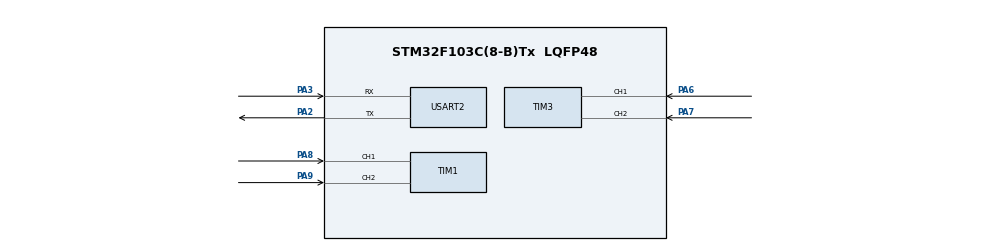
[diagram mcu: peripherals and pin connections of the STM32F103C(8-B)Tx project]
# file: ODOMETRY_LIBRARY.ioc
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Mcu.Family=STM32F1
Mcu.Name=STM32F103C(8-B)Tx
Mcu.Package=LQFP48
NVIC.PriorityGroup=NVIC_PRIORITYGROUP_4
PA13.Mode=Serial_Wire
PA13.Signal=SYS_JTMS-SWDIO
PA14.Mode=Serial_Wire
PA14.Signal=SYS_JTCK-SWCLK
PA2.Mode=Asynchronous
PA2.Signal=USART2_TX
PA3.Mode=Asynchronous
PA3.Signal=USART2_RX
PA6.Signal=S_TIM3_CH1
PA7.Signal=S_TIM3_CH2
PA8.Signal=S_TIM1_CH1
PA9.Signal=S_TIM1_CH2
PD0-OSC_IN.Mode=HSE-External-Oscillator
PD0-OSC_IN.Signal=RCC_OSC_IN
PD1-OSC_OUT.Mode=HSE-External-Oscillator
PD1-OSC_OUT.Signal=RCC_OSC_OUT
ProjectManager.HeapSize=0x200
ProjectManager.StackSize=0x400
ProjectManager.TargetToolchain=STM32CubeIDE
RCC.APB1Freq_Value=8000000
RCC.APB2Freq_Value=8000000
SH.S_TIM1_CH1.0=TIM1_CH1,Encoder_Interface
SH.S_TIM1_CH2.0=TIM1_CH2,Encoder_Interface
SH.S_TIM3_CH1.0=TIM3_CH1,Encoder_Interface
SH.S_TIM3_CH2.0=TIM3_CH2,Encoder_Interface
TIM1.AutoReloadPreload=TIM_AUTORELOAD_PRELOAD_ENABLE
TIM1.EncoderMode=TIM_ENCODERMODE_TI12
TIM3.AutoReloadPreload=TIM_AUTORELOAD_PRELOAD_ENABLE
TIM3.EncoderMode=TIM_ENCODERMODE_TI12
USART2.VirtualMode=VM_ASYNC
board=custom

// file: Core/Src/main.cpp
/* USER CODE BEGIN Header */
/**
  ******************************************************************************
  * @file           : main.c
  * @brief          : Main program body
  ******************************************************************************
  * @attention
  *
  * Copyright (c) 2024 STMicroelectronics.
  * All rights reserved.
  *
  * This software is licensed under terms that can be found in the LICENSE file
  * in the root directory of this software component.
  * If no LICENSE file comes with this software, it is provided AS-IS.
  *
  ******************************************************************************
  */
/* USER CODE END Header */
#include "main.h"

/* USER CODE BEGIN Includes */
#include "Encoder.h"
#include "Odometry.h"
#include "math.h"
#include <cmath>

/* USER CODE END Includes */

TIM_HandleTypeDef htim1;
TIM_HandleTypeDef htim3;

UART_HandleTypeDef huart2;

/* USER CODE BEGIN PV */
encoder leftEncoder(&htim1, 2400, 0.029);  // htim1 for the left encoder
encoder rightEncoder(&htim3, 2400, 0.029); // htim3 for the right encoder

// Odometry initialization
Odometry odometry(&leftEncoder, &rightEncoder, 0.029, 2400, 0.125, 0.125);

// wheel radius 5.8 cm, 2400 CPR
/* USER CODE END PV */

void SystemClock_Config(void);
static void MX_GPIO_Init(void);
static void MX_TIM1_Init(void);
static void MX_TIM3_Init(void);
static void MX_USART2_UART_Init(void);

/* USER CODE BEGIN 0 */
//float wheelRadius = 0.058f;
//int cpr = 2400;

/* USER CODE END 0 */

int main(void)
{

  /* MCU Configuration--------------------------------------------------------*/

  /* Reset of all peripherals, Initializes the Flash interface and the Systick. */
  HAL_Init();

  /* Configure the system clock */
  SystemClock_Config();

  /* Initialize all configured peripherals */
  MX_GPIO_Init();
  MX_TIM1_Init();
  MX_TIM3_Init();
  MX_USART2_UART_Init();
  /* USER CODE BEGIN 2 */
  leftEncoder.encoder_init();
  rightEncoder.encoder_init();

  /* USER CODE END 2 */

  /* Infinite loop */
  while (1)
  {

    /* USER CODE BEGIN 3 */
	   leftEncoder.update();
	   rightEncoder.update();

	   odometry.update_position();

	  // Get updated position values
	   odometry.get_x();
	   odometry.get_y();
	   odometry.get_theta();
  }
  /* USER CODE END 3 */
}

void SystemClock_Config(void)
{
  RCC_OscInitTypeDef RCC_OscInitStruct = {0};
  RCC_ClkInitTypeDef RCC_ClkInitStruct = {0};

  /** Initializes the RCC Oscillators according to the specified parameters
  * in the RCC_OscInitTypeDef structure.
  */
  RCC_OscInitStruct.OscillatorType = RCC_OSCILLATORTYPE_HSI;
  RCC_OscInitStruct.HSIState = RCC_HSI_ON;
  RCC_OscInitStruct.HSICalibrationValue = RCC_HSICALIBRATION_DEFAULT;
  RCC_OscInitStruct.PLL.PLLState = RCC_PLL_NONE;
  if (HAL_RCC_OscConfig(&RCC_OscInitStruct) != HAL_OK)
  {
    Error_Handler();
  }

  /** Initializes the CPU, AHB and APB buses clocks
  */
  RCC_ClkInitStruct.ClockType = RCC_CLOCKTYPE_HCLK|RCC_CLOCKTYPE_SYSCLK
                              |RCC_CLOCKTYPE_PCLK1|RCC_CLOCKTYPE_PCLK2;
  RCC_ClkInitStruct.SYSCLKSource = RCC_SYSCLKSOURCE_HSI;
  RCC_ClkInitStruct.AHBCLKDivider = RCC_SYSCLK_DIV1;
  RCC_ClkInitStruct.APB1CLKDivider = RCC_HCLK_DIV1;
  RCC_ClkInitStruct.APB2CLKDivider = RCC_HCLK_DIV1;

  if (HAL_RCC_ClockConfig(&RCC_ClkInitStruct, FLASH_LATENCY_0) != HAL_OK)
  {
    Error_Handler();
  }
}

static void MX_TIM1_Init(void)
{

  TIM_Encoder_InitTypeDef sConfig = {0};
  TIM_MasterConfigTypeDef sMasterConfig = {0};

  htim1.Instance = TIM1;
  htim1.Init.Prescaler = 0;
  htim1.Init.CounterMode = TIM_COUNTERMODE_UP;
  htim1.Init.Period = 65535;
  htim1.Init.ClockDivision = TIM_CLOCKDIVISION_DIV1;
  htim1.Init.RepetitionCounter = 0;
  htim1.Init.AutoReloadPreload = TIM_AUTORELOAD_PRELOAD_ENABLE;
  sConfig.EncoderMode = TIM_ENCODERMODE_TI12;
  sConfig.IC1Polarity = TIM_ICPOLARITY_RISING;
  sConfig.IC1Selection = TIM_ICSELECTION_DIRECTTI;
  sConfig.IC1Prescaler = TIM_ICPSC_DIV1;
  sConfig.IC1Filter = 0;
  sConfig.IC2Polarity = TIM_ICPOLARITY_RISING;
  sConfig.IC2Selection = TIM_ICSELECTION_DIRECTTI;
  sConfig.IC2Prescaler = TIM_ICPSC_DIV1;
  sConfig.IC2Filter = 0;
  if (HAL_TIM_Encoder_Init(&htim1, &sConfig) != HAL_OK)
  {
    Error_Handler();
  }
  sMasterConfig.MasterOutputTrigger = TIM_TRGO_RESET;
  sMasterConfig.MasterSlaveMode = TIM_MASTERSLAVEMODE_DISABLE;
  if (HAL_TIMEx_MasterConfigSynchronization(&htim1, &sMasterConfig) != HAL_OK)
  {
    Error_Handler();
  }

}

static void MX_TIM3_Init(void)
{

  TIM_Encoder_InitTypeDef sConfig = {0};
  TIM_MasterConfigTypeDef sMasterConfig = {0};

  htim3.Instance = TIM3;
  htim3.Init.Prescaler = 0;
  htim3.Init.CounterMode = TIM_COUNTERMODE_UP;
  htim3.Init.Period = 65535;
  htim3.Init.ClockDivision = TIM_CLOCKDIVISION_DIV1;
  htim3.Init.AutoReloadPreload = TIM_AUTORELOAD_PRELOAD_ENABLE;
  sConfig.EncoderMode = TIM_ENCODERMODE_TI12;
  sConfig.IC1Polarity = TIM_ICPOLARITY_RISING;
  sConfig.IC1Selection = TIM_ICSELECTION_DIRECTTI;
  sConfig.IC1Prescaler = TIM_ICPSC_DIV1;
  sConfig.IC1Filter = 0;
  sConfig.IC2Polarity = TIM_ICPOLARITY_RISING;
  sConfig.IC2Selection = TIM_ICSELECTION_DIRECTTI;
  sConfig.IC2Prescaler = TIM_ICPSC_DIV1;
  sConfig.IC2Filter = 0;
  if (HAL_TIM_Encoder_Init(&htim3, &sConfig) != HAL_OK)
  {
    Error_Handler();
  }
  sMasterConfig.MasterOutputTrigger = TIM_TRGO_RESET;
  sMasterConfig.MasterSlaveMode = TIM_MASTERSLAVEMODE_DISABLE;
  if (HAL_TIMEx_MasterConfigSynchronization(&htim3, &sMasterConfig) != HAL_OK)
  {
    Error_Handler();
  }

}

static void MX_USART2_UART_Init(void)
{

  huart2.Instance = USART2;
  huart2.Init.BaudRate = 115200;
  huart2.Init.WordLength = UART_WORDLENGTH_8B;
  huart2.Init.StopBits = UART_STOPBITS_1;
  huart2.Init.Parity = UART_PARITY_NONE;
  huart2.Init.Mode = UART_MODE_TX_RX;
  huart2.Init.HwFlowCtl = UART_HWCONTROL_NONE;
  huart2.Init.OverSampling = UART_OVERSAMPLING_16;
  if (HAL_UART_Init(&huart2) != HAL_OK)
  {
    Error_Handler();
  }

}

static void MX_GPIO_Init(void)
{

  /* GPIO Ports Clock Enable */
  __HAL_RCC_GPIOD_CLK_ENABLE();
  __HAL_RCC_GPIOA_CLK_ENABLE();

}

void Error_Handler(void)
{
  __disable_irq();
  while (1)
  {
  }
}
